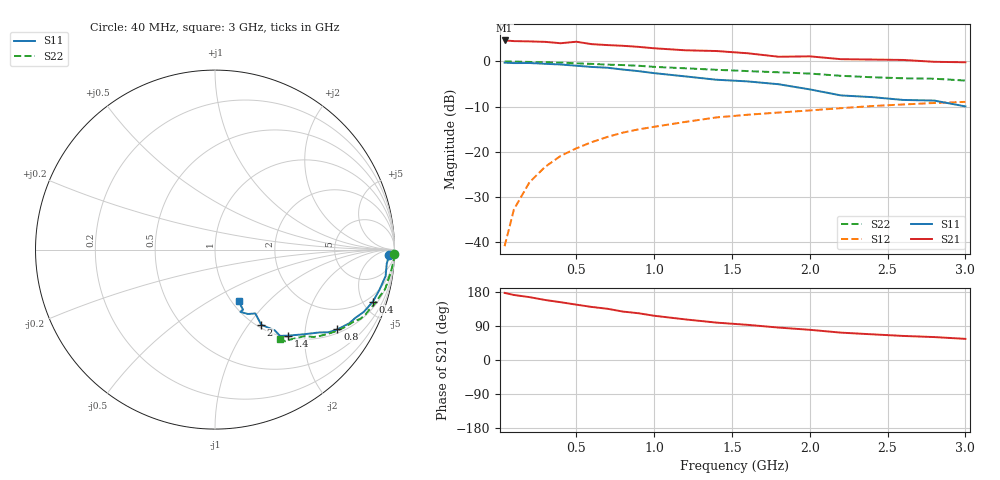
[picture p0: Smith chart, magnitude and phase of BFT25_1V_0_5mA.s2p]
! Filename:  BFT25C.S2P  Version:  2.0
! Philips part #: BFT25  Date: Jul 1990
! Bias condition: Vce=1V, Ic=0.5mA
#  MHz  S  MA  R  50
! Freq  S11  S21  S12  S22  !GUM [dB]
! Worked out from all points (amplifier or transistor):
!   21 points, 40 MHz to 3 GHz, reference 50 ohm
!   highest |S21| = 4.7 dB at 40 MHz (marker M1)
!   |S21| within 3 dB of that: start of sweep to 1.643 GHz
!   unconditionally stable (mu >= 1): 2.137 GHz to end of sweep
!   at 300 MHz: K = 0.21, MSG = 13.8 dB, |S12| = -23.3 dB
!   at 1 GHz: K = 0.59, MSG = 8.7 dB, |S12| = -14.5 dB
!   at 3 GHz: K = 1.13, MAG = 2.2 dB, |S12| = -8.9 dB
!   S11 on the Smith chart (normalised r, x): 40 MHz: 30, -34; 400 MHz: 1.44, -5.87; 800 MHz: 1.13, -2.98; 1.4 GHz: 1.04, -1.64; 2 GHz: 1.04, -1.15; 3 GHz: 1.07, -0.69
40  0.971 -1.9  1.71 177.1  0.009 85.5  0.998 -1.4
100  0.96 -4.7  1.682 171.6  0.023 85.3  0.998 -3.4
200  0.962 -8.8  1.669 165.9  0.046 82.6  0.989 -6.7
300  0.943 -13.8  1.65 158.4  0.068 79.9  0.98 -9.7
400  0.926 -18.3  1.593 152.5  0.09 77.7  0.973 -13.1
500  0.898 -22.8  1.655 146.1  0.109 74.4  0.955 -15.7
600  0.87 -25.9  1.556 140.0  0.128 72.4  0.941 -18.6
700  0.853 -28.8  1.52 135.2  0.146 70.4  0.923 -21.1
800  0.814 -33.1  1.492 127.8  0.163 67.8  0.913 -23.4
900  0.782 -36.1  1.453 123.4  0.177 66.3  0.897 -25.5
1000  0.743 -38.4  1.401 116.8  0.189 63.9  0.872 -27.3
1200  0.684 -43.6  1.331 107.2  0.214 60.6  0.841 -31.0
1400  0.628 -49.8  1.306 98.7  0.24 57.8  0.809 -34.4
1600  0.602 -53.0  1.234 92.8  0.257 55.1  0.783 -36.9
1800  0.56 -53.5  1.129 85.6  0.272 53.8  0.759 -39.3
2000  0.491 -58.4  1.14 79.7  0.287 51.3  0.735 -41.5
2200  0.421 -57.7  1.061 72.2  0.304 49.4  0.694 -44.0
2400  0.403 -62.9  1.051 67.8  0.321 47.1  0.669 -47.5
2600  0.375 -67.8  1.04 63.5  0.334 45.9  0.652 -50.4
2800  0.369 -65.0  0.992 60.5  0.347 45.3  0.644 -52.5
3000  0.318 -65.4  0.98 55.8  0.357 43.6  0.615 -53.8
